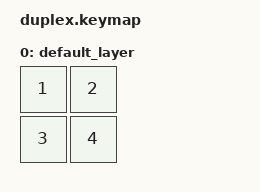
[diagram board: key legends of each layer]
#include <behaviors.dtsi>
#include <dt-bindings/zmk/keys.h>

/ {
    keymap {
        compatible = "zmk,keymap";

        default_layer {
            bindings = <
                &kp N1    &kp N2  // D3-정방향, D4-정방향
                &kp N3    &kp N4  // D3-역방향, D4-역방향
            >;
        };
    };
};
